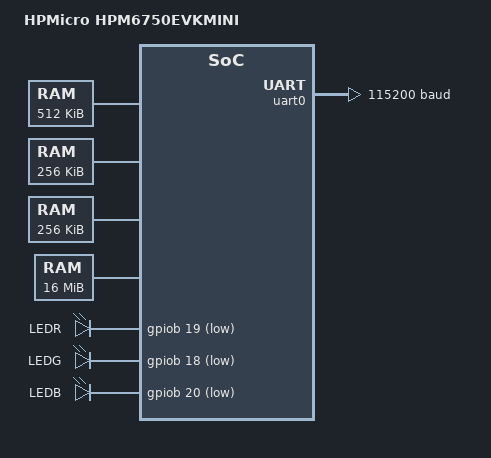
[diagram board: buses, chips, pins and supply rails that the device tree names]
/*
 * Copyright 2022 hpmicro
 * SPDX-License-Identifier: Apache-2.0
 */

/dts-v1/;

#include <hpmicro/hpm6750.dtsi>
#include "hpm6750evkmini-pinctrl.dtsi"

/ {
	model = "HPMicro HPM6750EVKMINI";
	compatible = "HPMicro,hpm6750evkmini";

	chosen {
		zephyr,console = &uart0;
		zephyr,shell-uart = &uart0;
		zephyr,sram = &sram;
		zephyr,itcm = &ilm;
		zephyr,dtcm = &dlm;
	};

	core0_lm_slv: memory@1000000 {
		device_type = "memory";
		reg = <0x1000000 DT_SIZE_K(512)>;
	};

	core1_lm_slv: memory@1180000 {
		device_type = "memory";
		reg = <0x1180000 DT_SIZE_K(256)>;
	};

	noncache: memory@11c0000 {
		device_type = "memory";
		reg = <0x11c0000 DT_SIZE_K(256)>;
	};

	dram: memory@40000000 {
		device_type = "memory";
		reg = <0x40000000 DT_SIZE_M(16)>;
	};

	aliases {
		led0 = &led_r;
		led1 = &led_g;
		led2 = &led_b;
	};

	leds {
		compatible = "gpio-leds";
		led_r: led_r {
			gpios = <&gpiob 19 GPIO_ACTIVE_LOW>;
			label = "LEDR";
		};
		led_g: led_g {
			gpios = <&gpiob 18 GPIO_ACTIVE_LOW>;
			label = "LEDG";
		};
		led_b: led_b {
			gpios = <&gpiob 20 GPIO_ACTIVE_LOW>;
			label = "LEDB";
		};
	};
};

&uart0 {
	status = "okay";
	current-speed = <115200>;
	pinctrl-0 = <&pinmux_uart0>;
	pinctrl-names = "default";
	clock-name = <19005459>;
	clock-src = <0>;
};
&gpiob {
	pinctrl-0 = <&pinmux_gpiob>;
	pinctrl-names = "default";
	status = "okay";
};
